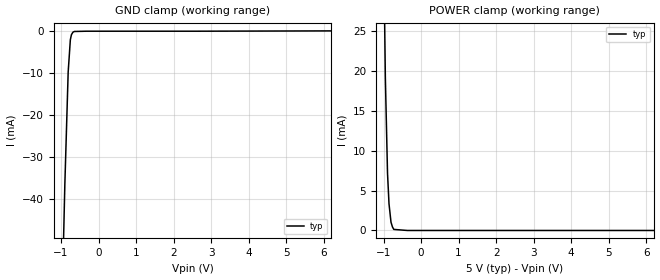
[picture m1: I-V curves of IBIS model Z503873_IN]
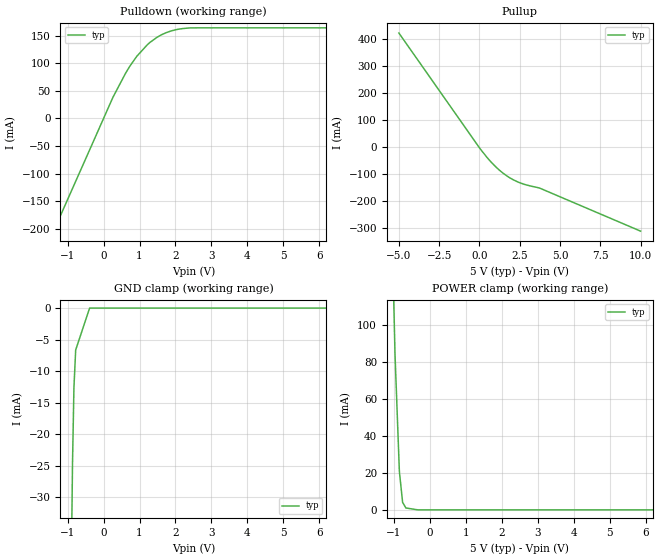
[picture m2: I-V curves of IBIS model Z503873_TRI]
| YOU ARE ONLY AUTHORIZED TO USE THIS SOFTWARE
| ACCORDING TO LICENSOR'S LICENSE RESTRICTIONS.
[IBIS Ver] 3.1
[File Name] mc74act574dw.ibs
[File Rev] 2.0
[Source] Measured and created by ICX Technology
[Date] Friday 7/14/00 9:08:02 AM
[Copyright]
| (C) COPYRIGHT 1993-2000
| MENTOR GRAPHICS CORPORATION
| ICX STANDARD LIBRARY, ICX PROJECT MODELING,
| ICX CUSTOM MODELING, ICX VENDOR MODEL
| ALL RIGHTS RESERVED.
| THE FOLLOWING ARE TRADEMARKS OR SERVICE MARKS OF
| MENTOR GRAPHICS CORPORATION:ICX (R), ICX STANDARD
| LIBRARY(R), ICX PROJECT MODELING(R), ICX CUSTOM
| MODELING(R), qualityIBIS(TM), MODELVIEWER(TM),
| AND MODELEDITOR(TM)
| ALL COPIES OF SOFTWARE, INCLUDING BUT NOT LIMITED TO
| ANY MODIFICATIONS, ENHANCEMENTS OR DERIVATIVE WORKS,
| MUST CONTAIN ALL MENTOR GRAPHICS CORPORATION'S
| NOTICES AND LEGENDS, INCLUDING THOSE EMBEDDED IN
| SOFTWARE AND THOSE AFFIXED TO SOFTWARE MEDIUM
| AND CONTAINER, AS RECEIVED FROM MENTOR GRAPHICS
| CORPORATION.
|  ZAP Model Builder 2.7
[Component] MC74ACT574DW
[Manufacturer] OnSemiconductor
[Package]
| variable   typ   min   max
R_pkg  .178ohms NA NA
L_pkg  4.43nH NA NA
C_pkg  .62pF NA NA
[Pin] signal_name  model_name  R_pin  L_pin C_pin
1 _EN Z503873_IN .186 5.37n .68p
2 D0 Z503873_IN .182 4.89n .65p
3 D1 Z503873_IN .178 4.42n .62p
4 D2 Z503873_IN .174 3.96n .59p
5 D3 Z503873_IN .17 3.51n .56p
6 D4 Z503873_IN .17 3.51n .56p
7 D5 Z503873_IN .174 3.96n .59p
8 D6 Z503873_IN .178 4.42n .62p
9 D7 Z503873_IN .182 4.89n .65p
10 GND GND .186 5.37n .68p
11 CLK Z503873_IN .186 5.37n .68p
12 Q7 Z503873_TRI .182 4.89n .65p
13 Q6 Z503873_TRI .178 4.42n .62p
14 Q5 Z503873_TRI .174 3.96n .59p
15 Q4 Z503873_TRI .17 3.51n .56p
16 Q3 Z503873_TRI .17 3.51n .56p
17 Q2 Z503873_TRI .174 3.96n .59p
18 Q1 Z503873_TRI .178 4.42n .62p
19 Q0 Z503873_TRI .182 4.89n .65p
20 VCC POWER .186 5.37n .68p
| Models and submodels in the file (2): Z503873_IN (Input), Z503873_TRI (3-state)
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| (C) COPYRIGHT 1993-2000
| MENTOR GRAPHICS CORPORATION
| ICX STANDARD LIBRARY, ICX PROJECT MODELING,
| ICX CUSTOM MODELING, ICX VENDOR MODEL
| ALL RIGHTS RESERVED.
| THE FOLLOWING ARE TRADEMARKS OR SERVICE MARKS OF
| MENTOR GRAPHICS CORPORATION:ICX (R), ICX STANDARD
| LIBRARY(R), ICX PROJECT MODELING(R), ICX CUSTOM
| MODELING(R), qualityIBIS(TM), MODELVIEWER(TM),
| AND MODELEDITOR(TM)
| ALL COPIES OF SOFTWARE, INCLUDING BUT NOT LIMITED TO
| ANY MODIFICATIONS, ENHANCEMENTS OR DERIVATIVE WORKS,
| MUST CONTAIN ALL MENTOR GRAPHICS CORPORATION'S
| NOTICES AND LEGENDS, INCLUDING THOSE EMBEDDED IN
| SOFTWARE AND THOSE AFFIXED TO SOFTWARE MEDIUM
| AND CONTAINER, AS RECEIVED FROM MENTOR GRAPHICS
| CORPORATION.
| Model Application Version 1.89 2/18/99.
[Model] Z503873_IN
Model_type Input
Vinl = 800.0mV
Vinh = 2.000V
C_comp 4.000pF NA NA
| variable typ   min   max
[Voltage Range] 5.000V NA NA
[GND Clamp Reference] 0.000V NA NA
[POWER Clamp Reference] 5.000V NA NA
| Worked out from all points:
|   GND clamp passes 1 mA (typ) near -0.73 V on its own axis
|   POWER clamp passes 1 mA (typ) near -0.80 V on its own axis
[GND Clamp]
-5V       -1.592A    NA         NA
-898.4mV  -36.44mA   NA         NA
-809.7mV  -9.706mA   NA         NA
-751.6mV  -2.006mA   NA         NA
-722.7mV  -822.6uA   NA         NA
-683.7mV  -232.3uA   NA         NA
-645.4mV  -55.38uA   NA         NA
-322.7mV  9.109uA    NA         NA
2.578V    9.109uA    NA         NA
10V       165.3uA    NA         NA
[POWER Clamp]
-5V       2.199A     NA         NA
-1.016V   42.85mA    NA         NA
-952mV    19.28mA    NA         NA
-894mV    7.197mA    NA         NA
-854mV    3.335mA    NA         NA
-801mV    1.032mA    NA         NA
-762mV    441.2uA    NA         NA
-726mV    132.7uA    NA         NA
-363mV    0A         NA         NA
10V       0A         NA         NA
| (C) COPYRIGHT 1993-2000
| MENTOR GRAPHICS CORPORATION
| ICX STANDARD LIBRARY, ICX PROJECT MODELING,
| ICX CUSTOM MODELING, ICX VENDOR MODEL
| ALL RIGHTS RESERVED.
| THE FOLLOWING ARE TRADEMARKS OR SERVICE MARKS OF
| MENTOR GRAPHICS CORPORATION:ICX (R), ICX STANDARD
| LIBRARY(R), ICX PROJECT MODELING(R), ICX CUSTOM
| MODELING(R), qualityIBIS(TM), MODELVIEWER(TM),
| AND MODELEDITOR(TM)
| ALL COPIES OF SOFTWARE, INCLUDING BUT NOT LIMITED TO
| ANY MODIFICATIONS, ENHANCEMENTS OR DERIVATIVE WORKS,
| MUST CONTAIN ALL MENTOR GRAPHICS CORPORATION'S
| NOTICES AND LEGENDS, INCLUDING THOSE EMBEDDED IN
| SOFTWARE AND THOSE AFFIXED TO SOFTWARE MEDIUM
| AND CONTAINER, AS RECEIVED FROM MENTOR GRAPHICS
| CORPORATION.
| Model Application Version 1.89 2/18/99.
[Model] Z503873_TRI
Model_type 3-state
Vref=0.000V
Rref=500.0ohms
Cref=50.00pF
Vmeas=1.500V
C_comp 8.000pF NA NA
| variable typ   min   max
[Voltage Range] 5.000V NA NA
[POWER Clamp Reference] 5.000V NA NA
[Pullup Reference] 5.000V NA NA
[Pulldown Reference] 0.000V NA NA
[GND Clamp Reference] 0.000V NA NA
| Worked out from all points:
|   slope of the pulldown table from 0 to 0.75 V, typ, clamps not added: 7.78 ohm
|   slope of the pullup table from 0 to 0.75 V, typ, clamps not added: 13.7 ohm
[GND Clamp]
-5V       -1.641A    NA         NA
-1.016V   -98.92mA   NA         NA
-864.2mV  -24.61mA   NA         NA
-824.7mV  -12.61mA   NA         NA
-776.1mV  -6.642mA   NA         NA
-388mV    0A         NA         NA
10V       0A         NA         NA
[Pulldown]
-5V       -734mA     NA         NA
263.7mV   38.79mA    NA         NA
615.3mV   82.39mA    NA         NA
923.1mV   112.6mA    NA         NA
1.295V    138.1mA    NA         NA
1.484V    147mA      NA         NA
1.753V    155.8mA    NA         NA
2.088V    161.9mA    NA         NA
2.422V    164.2mA    NA         NA
10V       164.3mA    NA         NA
[Pullup]
-5V       424mA      NA         NA
39mV      -5.772mA   NA         NA
742mV     -56.71mA   NA         NA
1.25V     -86.2mA    NA         NA
1.917V    -115.1mA   NA         NA
2.417V    -130.2mA   NA         NA
3.736V    -152.1mA   NA         NA
10V       -312mA     NA         NA
[POWER Clamp]
-5V       3.375A     NA         NA
-971mV    84.03mA    NA         NA
-850mV    20.83mA    NA         NA
-760mV    4.062mA    NA         NA
-669mV    1.024mA    NA         NA
-334.5mV  0A         NA         NA
10V       0A         NA         NA
[Ramp]
| variable typ min max
dV/dt_r 2.945/593.0p NA NA
dV/dt_f 2.945/721.1p NA NA
R_load = 500.0Ohms
